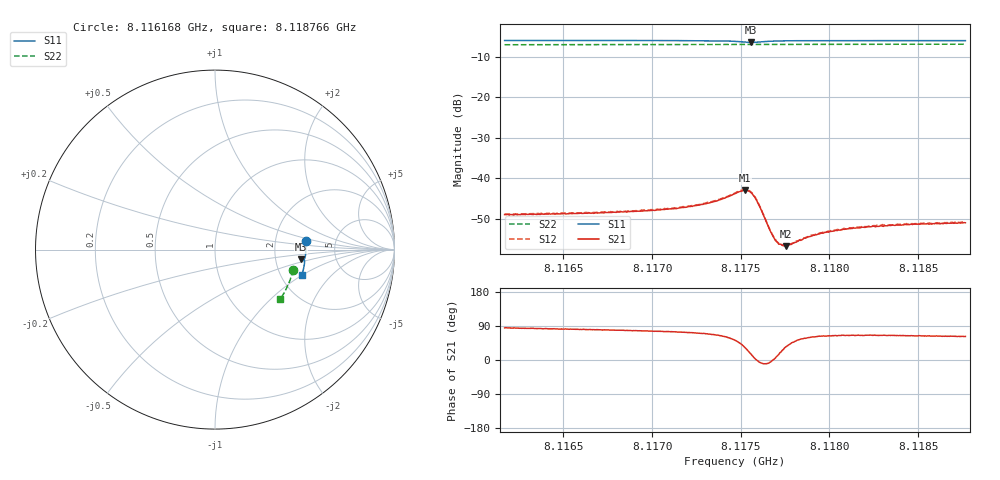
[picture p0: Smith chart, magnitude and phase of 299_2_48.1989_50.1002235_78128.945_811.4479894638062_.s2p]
#  HZ  S  RI  R  50.00
! Rohde & Schwarz Vector Network Analyzer
! Rohde-Schwarz,ZNB20-2Port,1311601062101988,3.16
! Created: UTC 3/20/2024, 11:49:30 AM
! freq[Hz]  re:S11  im:S11  re:S21  im:S21  re:S12  im:S12  re:S22  im:S22
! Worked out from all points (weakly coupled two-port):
!   401 points, 8.116168 GHz to 8.118766 GHz, reference 50 ohm
!   highest |S21| = -42.99 dB at 8.117526 GHz (marker M1); lowest = -56.8 dB at 8.117753 GHz (marker M2)
!   lowest |S11| = -6.4 dB at 8.117558 GHz (marker M3), VSWR 2.84, Z = 139 - j19.2 ohm
!   |S11| at or under -10 dB: nowhere
!   |S22| runs from -7.0 to -6.8 dB; largest |S21 - S12| = 0.00019
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8.1161684e9  0.505 0.0456  0.000329 0.00353  0.000411 0.00357  0.4344 -0.113
8.1166036e9  0.5063 0.0126  0.000605 0.00361  0.000642 0.00368  0.427 -0.1422
8.1170387e9  0.505 -0.0211  0.000997 0.00392  0.00106 0.00396  0.4175 -0.1711
8.1171361e9  0.5043 -0.029  0.00116 0.00403  0.00125 0.00409  0.4152 -0.1774
8.117279e9  0.502 -0.0415  0.0016 0.00446  0.00165 0.00447  0.4115 -0.1868
8.1173699e9  0.4992 -0.0505  0.0022 0.0048  0.00229 0.00489  0.409 -0.1928
8.1174674e9  0.4908 -0.0601  0.00396 0.00507  0.00407 0.00511  0.4057 -0.199
8.1175258e9  0.4802 -0.0596  0.00601 0.00375  0.00616 0.00376  0.4038 -0.2023
8.1175583e9  0.4767 -0.053  0.00638 0.00172  0.00652 0.00166  0.4028 -0.204
8.1175778e9  0.4783 -0.0486  0.00585 0.000505  0.00593 0.000451  0.4025 -0.2051
8.1175973e9  0.4819 -0.0459  0.00489 -0.00027  0.005 -0.000316  0.4019 -0.2061
8.1176622e9  0.4932 -0.0487  0.0023 -0.000266  0.00233 -0.000292  0.4006 -0.2103
8.1176882e9  0.4955 -0.0519  0.00181 6.49e-05  0.00184 8.71e-05  0.4001 -0.212
8.1177142e9  0.4971 -0.0551  0.00147 0.000387  0.00152 0.000401  0.3992 -0.2136
8.1177272e9  0.4976 -0.0565  0.00141 0.000546  0.00141 0.000554  0.3988 -0.2146
8.1177531e9  0.4983 -0.0596  0.00118 0.000816  0.00125 0.000811  0.3982 -0.2162
8.1177921e9  0.4988 -0.0638  0.00107 0.00112  0.00109 0.00113  0.3968 -0.2189
8.1179025e9  0.4985 -0.0743  0.000936 0.00169  0.000989 0.00171  0.3934 -0.2257
8.117987e9  0.4979 -0.0816  0.000977 0.00194  0.000987 0.00195  0.3906 -0.2311
8.1181104e9  0.4963 -0.0915  0.00102 0.00215  0.00105 0.00219  0.3865 -0.2387
8.1183377e9  0.4928 -0.1091  0.0011 0.00236  0.00112 0.0024  0.3785 -0.2524
8.1187663e9  0.4846 -0.1404  0.00131 0.00248  0.00135 0.00253  0.3619 -0.2776
